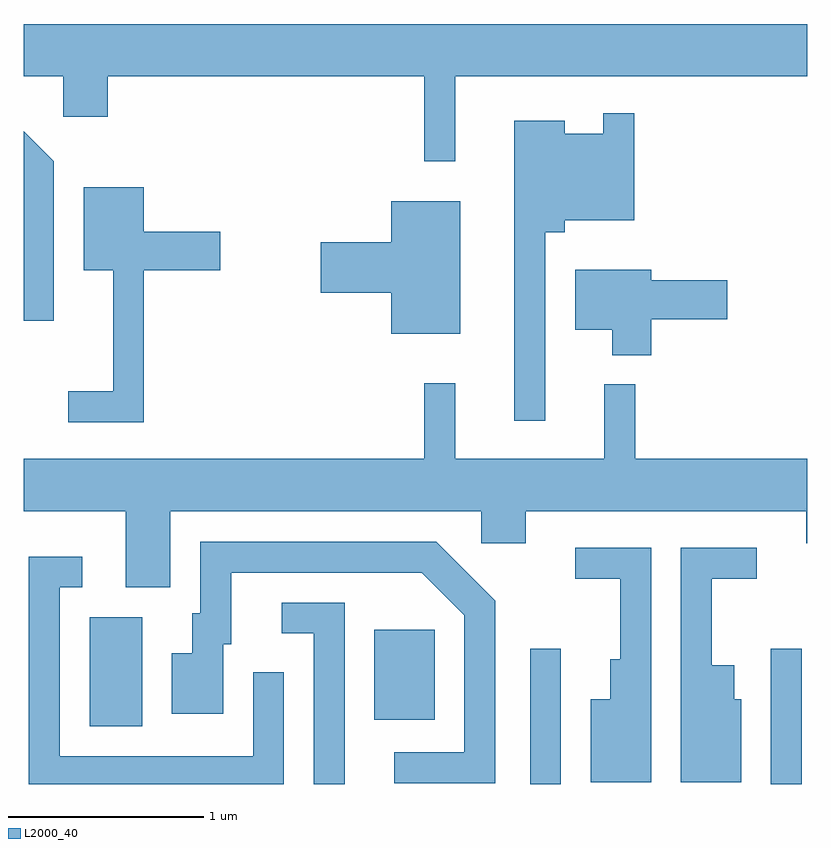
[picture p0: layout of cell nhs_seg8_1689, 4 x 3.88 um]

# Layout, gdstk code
import gdstk
lib = gdstk.Library(unit=1e-6, precision=1e-09)
def R(c, l, rs):  # rectangles x0, y0, x1, y1
    for r in rs: c.add(gdstk.rectangle(r[:2], r[2:], *l))
def P(c, l, *ps):  # polygons
    for p in ps: c.add(gdstk.Polygon(p, *l))
L2000_40 = (2000, 40)

nhs_seg8_1689 = lib.new_cell('nhs_seg8_1689')
R(nhs_seg8_1689, L2000_40, [(238.196,1848.342,238.354,1849.033), (239.426,1848.342,239.584,1849.033), (235.946,1848.636,236.214,1849.194), (237.401,1848.671,237.709,1849.129)])
P(nhs_seg8_1689, L2000_40, [(237.814,1851.956),(239.611,1851.956),(239.611,1852.224),(235.611,1852.224),(235.611,1851.956),(235.811,1851.956),(235.811,1851.751),(236.039,1851.751),(236.039,1851.956),(237.656,1851.956),(237.656,1851.523),(237.814,1851.523)],
  [(238.274,1851.161),(238.374,1851.161),(238.374,1851.221),(238.729,1851.221),(238.729,1851.768),(238.571,1851.768),(238.571,1851.664),(238.374,1851.664),(238.374,1851.729),(238.116,1851.729),(238.116,1850.198),(238.274,1850.198)],
  [(235.764,1851.522),(235.611,1851.675),(235.611,1850.708),(235.764,1850.708)],
  [(236.224,1850.966),(236.614,1850.966),(236.614,1851.164),(236.224,1851.164),(236.224,1851.389),(235.916,1851.389),(235.916,1850.966),(236.066,1850.966),(236.066,1850.349),(235.838,1850.349),(235.838,1850.191),(236.224,1850.191)],
  [(237.839,1851.319),(237.486,1851.319),(237.486,1851.109),(237.126,1851.109),(237.126,1850.851),(237.486,1850.851),(237.486,1850.641),(237.839,1850.641)],
  [(238.814,1850.716),(239.204,1850.716),(239.204,1850.914),(238.814,1850.914),(238.814,1850.969),(238.426,1850.969),(238.426,1850.661),(238.616,1850.661),(238.616,1850.531),(238.814,1850.531)],
  [(236.359,1849.736),(237.946,1849.736),(237.946,1849.571),(238.174,1849.571),(238.174,1849.736),(239.606,1849.736),(239.606,1849.571),(239.611,1849.571),(239.611,1850.004),(238.734,1850.004),(238.734,1850.383),(238.576,1850.383),(238.576,1850.004),(237.814,1850.004),(237.814,1850.388),(237.656,1850.388),(237.656,1850.004),(235.611,1850.004),(235.611,1849.736),(236.131,1849.736),(236.131,1849.346),(236.359,1849.346)],
  [(238.019,1849.277),(237.717,1849.579),(236.511,1849.579),(236.511,1849.214),(236.471,1849.214),(236.471,1849.009),(236.366,1849.009),(236.366,1848.701),(236.629,1848.701),(236.629,1849.056),(236.669,1849.056),(236.669,1849.421),(237.644,1849.421),(237.861,1849.204),(237.861,1848.504),(237.503,1848.504),(237.503,1848.346),(238.019,1848.346)],
  [(239.274,1848.774),(239.239,1848.774),(239.239,1848.949),(239.124,1848.949),(239.124,1849.391),(239.353,1849.391),(239.353,1849.549),(238.966,1849.549),(238.966,1848.351),(239.274,1848.351)],
  [(238.814,1849.549),(238.428,1849.549),(238.428,1849.391),(238.656,1849.391),(238.656,1848.979),(238.606,1848.979),(238.606,1848.774),(238.506,1848.774),(238.506,1848.351),(238.814,1848.351)],
  [(236.939,1848.913),(236.781,1848.913),(236.781,1848.484),(235.794,1848.484),(235.794,1849.346),(235.908,1849.346),(235.908,1849.504),(235.636,1849.504),(235.636,1848.342),(236.939,1848.342)],
  [(237.249,1849.269),(236.928,1849.269),(236.928,1849.111),(237.091,1849.111),(237.091,1848.342),(237.249,1848.342)])

lib.write_gds('nhs_seg8_1689.gds')
